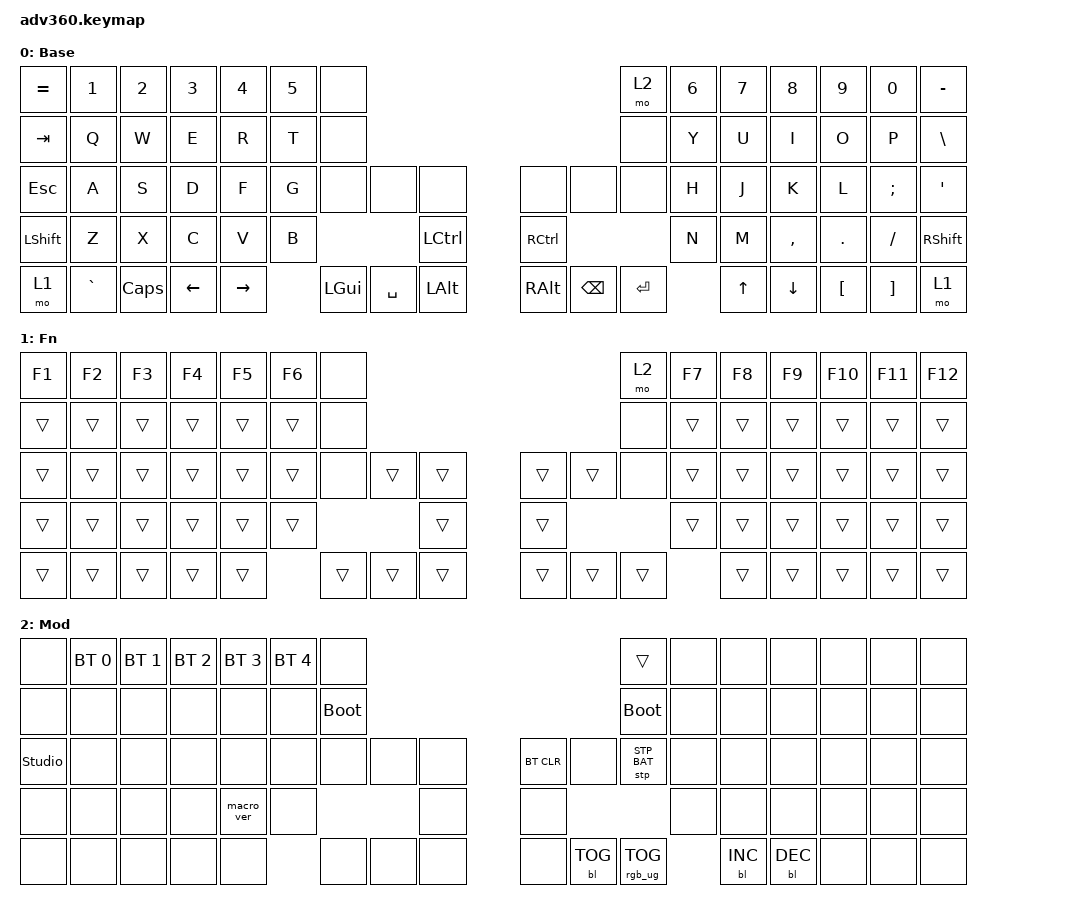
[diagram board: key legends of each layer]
#include <dt-bindings/zmk/stp.h>
#include <behaviors.dtsi>
#include <dt-bindings/zmk/backlight.h>
#include <dt-bindings/zmk/bt.h>
#include <dt-bindings/zmk/keys.h>
#include <dt-bindings/zmk/rgb.h>

/ {
    behaviors {
        #include "macros.dtsi"
      #include "version.dtsi"

        hm: homerow_mods {
            compatible = "zmk,behavior-hold-tap";
            label = "HOMEROW_MODS";
            #binding-cells = <2>;
            tapping-term-ms = <200>;
            quick_tap_ms = <175>;
            flavor = "tap-preferred";
            bindings = <&kp>, <&kp>;
        };
    };

    keymap {
        compatible = "zmk,keymap";

        default_layer {
            display-name = "Base";
            bindings = <
&kp EQUAL  &kp N1     &kp N2    &kp N3    &kp N4     &kp N5  &none                                                                            &mo 2      &kp N6  &kp N7  &kp N8     &kp N9    &kp N0    &kp MINUS
&kp TAB    &kp Q      &kp W     &kp E     &kp R      &kp T   &none                                                                            &none      &kp Y   &kp U   &kp I      &kp O     &kp P     &kp BSLH
&kp ESC    &kp A      &kp S     &kp D     &kp F      &kp G   &none         &none      &none                 &none              &none          &none      &kp H   &kp J   &kp K      &kp L     &kp SEMI  &kp SQT
&kp LSHFT  &kp Z      &kp X     &kp C     &kp V      &kp B                            &kp LEFT_CONTROL      &kp RIGHT_CONTROL                            &kp N   &kp M   &kp COMMA  &kp DOT   &kp FSLH  &kp RSHFT
&mo 1      &kp GRAVE  &kp CAPS  &kp LEFT  &kp RIGHT          &kp LEFT_GUI  &kp SPACE  &kp LEFT_ALT          &kp RIGHT_ALT      &kp BACKSPACE  &kp ENTER          &kp UP  &kp DOWN   &kp LBKT  &kp RBKT  &mo 1
            >;
        };

        fn {
            display-name = "Fn";
            bindings = <
&kp F1  &kp F2  &kp F3  &kp F4  &kp F5  &kp F6  &none                                       &mo 2   &kp F7  &kp F8  &kp F9  &kp F10  &kp F11  &kp F12
&trans  &trans  &trans  &trans  &trans  &trans  &none                                       &none   &trans  &trans  &trans  &trans   &trans   &trans
&trans  &trans  &trans  &trans  &trans  &trans  &none   &trans  &trans      &trans  &trans  &none   &trans  &trans  &trans  &trans   &trans   &trans
&trans  &trans  &trans  &trans  &trans  &trans                  &trans      &trans                  &trans  &trans  &trans  &trans   &trans   &trans
&trans  &trans  &trans  &trans  &trans          &trans  &trans  &trans      &trans  &trans  &trans          &trans  &trans  &trans   &trans   &trans
            >;
        };

        mod {
            display-name = "Mod";
            bindings = <
&none           &bt BT_SEL 0  &bt BT_SEL 1  &bt BT_SEL 2  &bt BT_SEL 3  &bt BT_SEL 4  &none                                                  &trans           &none  &none       &none       &none  &none  &none
&none           &none         &none         &none         &none         &none         &bootloader                                            &bootloader      &none  &none       &none       &none  &none  &none
&studio_unlock  &none         &none         &none         &none         &none         &none        &none  &none      &bt BT_CLR  &none       &stp STP_BAT     &none  &none       &none       &none  &none  &none
&none           &none         &none         &none         &macro_ver    &none                             &none      &none                                    &none  &none       &none       &none  &none  &none
&none           &none         &none         &none         &none                       &none        &none  &none      &none       &bl BL_TOG  &rgb_ug RGB_TOG         &bl BL_INC  &bl BL_DEC  &none  &none  &none
            >;
        };
    };
};
